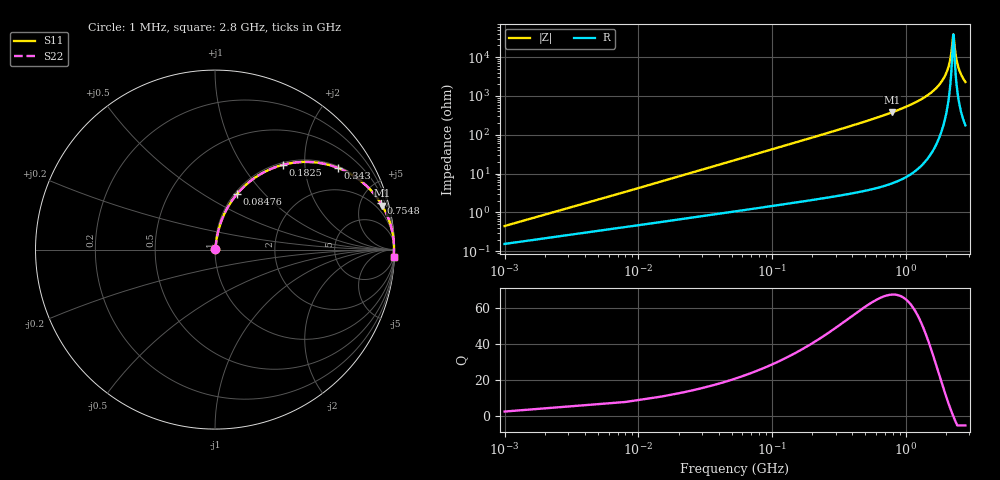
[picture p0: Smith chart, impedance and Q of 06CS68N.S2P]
! Coilcraft 0603CS-68N Chip Inductor
! 21 May 2002
# MHZ S MA R 50
!Freq  MagS11  AngS11  MagS21  AngS21  MagS12  AngS12  MagS22  AngS22
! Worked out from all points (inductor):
!   403 points, 1 MHz to 2.8 GHz, reference 50 ohm
!   read as one part in series: L = 67 nH near 14.96 MHz
!   highest Q = 67.5 at 789.7 MHz (marker M1), where L = 76.2 nH
!   self-resonance near 2.269 GHz
!   S11 on the Smith chart (normalised r, x): 1 MHz: 1.00, +0.01; 84.76 MHz: 1.03, +0.71; 182.5 MHz: 1.04, +1.55; 343 MHz: 1.06, +2.96; 754.8 MHz: 1.11, +7.14; 2.8 GHz: 5, -46
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1  0.004479 69.5  0.9984 -0.2  0.9984 -0.2  0.004479 69.5
21.94  0.09161 80.5  0.989 -5.2  0.989 -5.2  0.09161 80.5
28.92  0.1202 79.4  0.985 -6.9  0.985 -6.9  0.1202 79.4
49.86  0.2037 75.4  0.969 -11.7  0.969 -11.7  0.2037 75.4
84.76  0.3327 68.4  0.9306 -19.4  0.9306 -19.4  0.3327 68.4
182.48  0.6043 51.4  0.7813 -37.2  0.7813 -37.2  0.6043 51.4
343.02  0.8209 33.7  0.5555 -55.2  0.5555 -55.2  0.8209 33.7
468.66  0.8938 25.7  0.4337 -63.3  0.4337 -63.3  0.8938 25.7
754.84  0.9593 15.6  0.2686 -73.6  0.2686 -73.6  0.9593 15.6
789.74  0.9632 14.8  0.2548 -74.4  0.2548 -74.4  0.9632 14.8
936.32  0.9755 11.9  0.2056 -77.3  0.2056 -77.3  0.9755 11.9
1403.98  0.9923 6.0  0.104 -82.8  0.104 -82.8  0.9923 6.0
1871.64  0.9969 2.3  0.04102 -84.5  0.04102 -84.5  0.9969 2.3
2025.2  0.9973 1.4  0.02447 -83.1  0.02447 -83.1  0.9973 1.4
2129.9  0.9975 0.8  0.01404 -79.2  0.01404 -79.2  0.9975 0.8
2199.7  0.9975 0.4  0.007534 -70.1  0.007534 -70.1  0.9975 0.4
2269.5  0.9974 0.0  0.00266 -13.0  0.00266 -13.0  0.9974 0.0
2290.44  0.9974 -0.1  0.002926 26.6  0.002926 26.6  0.9974 -0.1
2339.3  0.9973 -0.3  0.006301 64.6  0.006301 64.6  0.9973 -0.3
2409.1  0.9972 -0.7  0.01215 76.2  0.01215 76.2  0.9972 -0.7
2499.84  0.9969 -1.1  0.01975 80.5  0.01975 80.5  0.9969 -1.1
2800  0.9957 -2.5  0.04348 83.1  0.04348 83.1  0.9957 -2.5
